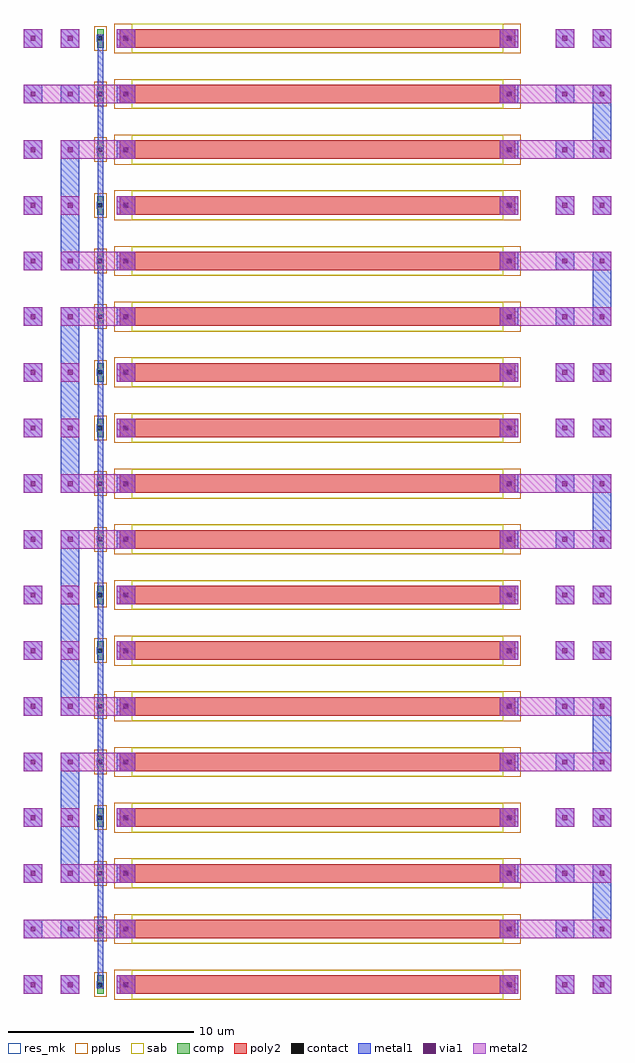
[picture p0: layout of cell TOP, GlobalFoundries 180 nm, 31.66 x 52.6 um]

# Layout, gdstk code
import gdstk
lib = gdstk.Library(unit=1e-6, precision=1e-09)
def R(c, l, rs):  # rectangles x0, y0, x1, y1
    for r in rs: c.add(gdstk.rectangle(r[:2], r[2:], *l))
comp = (22, 0)
poly2 = (30, 0)
pplus = (31, 0)
contact = (33, 0)
metal1 = (34, 0)
via1 = (35, 0)
metal2 = (36, 0)
sab = (49, 0)
res_mk = (110, 5)

compass_1b1d9957 = lib.new_cell('compass_1b1d9957')
R(compass_1b1d9957, res_mk, [(-10,-0.5,10,0.5)])

rectangle_1b1d9957 = lib.new_cell('rectangle_1b1d9957')
rectangle_1b1d9957.add(gdstk.Reference(compass_1b1d9957, (10,0.5)))

compass_03363513 = lib.new_cell('compass_03363513')
R(compass_03363513, sab, [(-10,-0.78,10,0.78)])

rectangle_03363513 = lib.new_cell('rectangle_03363513')
rectangle_03363513.add(gdstk.Reference(compass_03363513, (10,0.78)))

compass_0e4779a1 = lib.new_cell('compass_0e4779a1')
R(compass_0e4779a1, poly2, [(-10.66,-0.5,10.66,0.5)])

rectangle_0e4779a1 = lib.new_cell('rectangle_0e4779a1')
rectangle_0e4779a1.add(gdstk.Reference(compass_0e4779a1, (10.66,0.5)))

compass_f38dc993 = lib.new_cell('compass_f38dc993')
R(compass_f38dc993, contact, [(-0.11,-0.11,0.11,0.11)])

rectangle_f38dc993 = lib.new_cell('rectangle_f38dc993')
rectangle_f38dc993.add(gdstk.Reference(compass_f38dc993, (0.11,0.11)))

via_generator_d75c31cf = lib.new_cell('via_generator_d75c31cf')
r = gdstk.Reference(rectangle_f38dc993, (-0.44,0.39)); r.repetition = gdstk.Repetition(1, 1, v1=(0,0), v2=(0,0)); via_generator_d75c31cf.add(r)

compass_93e7eb8f = lib.new_cell('compass_93e7eb8f')
R(compass_93e7eb8f, metal1, [(-0.19,-0.191,0.19,0.191)])

rectangle_93e7eb8f = lib.new_cell('rectangle_93e7eb8f')
rectangle_93e7eb8f.add(gdstk.Reference(compass_93e7eb8f, (0.19,0.191)))

via_stack_aee9456e = lib.new_cell('via_stack_aee9456e')
via_stack_aee9456e.add(gdstk.Reference(via_generator_d75c31cf, (0,0)))
via_stack_aee9456e.add(gdstk.Reference(rectangle_93e7eb8f, (-0.52,0.309)))

compass_7786bbc9 = lib.new_cell('compass_7786bbc9')
R(compass_7786bbc9, pplus, [(-10.96,-0.8,10.96,0.8)])

rectangle_7786bbc9 = lib.new_cell('rectangle_7786bbc9')
rectangle_7786bbc9.add(gdstk.Reference(compass_7786bbc9, (10.96,0.8)))

compass_6150a5ad = lib.new_cell('compass_6150a5ad')
R(compass_6150a5ad, comp, [(-0.18,-0.5,0.18,0.5)])

rectangle_6150a5ad = lib.new_cell('rectangle_6150a5ad')
rectangle_6150a5ad.add(gdstk.Reference(compass_6150a5ad, (0.18,0.5)))

via_generator_8e1cf627 = lib.new_cell('via_generator_8e1cf627')
r = gdstk.Reference(rectangle_f38dc993, (-1.81,0.39)); r.repetition = gdstk.Repetition(1, 1, v1=(0,0), v2=(0,0)); via_generator_8e1cf627.add(r)

via_stack_603515ee = lib.new_cell('via_stack_603515ee')
via_stack_603515ee.add(gdstk.Reference(via_generator_8e1cf627, (0,0)))
via_stack_603515ee.add(gdstk.Reference(rectangle_93e7eb8f, (-1.89,0.309)))

compass_4b09060a = lib.new_cell('compass_4b09060a')
R(compass_4b09060a, pplus, [(-0.34,-0.66,0.34,0.66)])

rectangle_4b09060a = lib.new_cell('rectangle_4b09060a')
rectangle_4b09060a.add(gdstk.Reference(compass_4b09060a, (0.34,0.66)))

polyf_res_inst_d09b0e8d = lib.new_cell('polyf_res_inst_d09b0e8d')
polyf_res_inst_d09b0e8d.add(gdstk.Reference(rectangle_1b1d9957, (0,0)))
polyf_res_inst_d09b0e8d.add(gdstk.Reference(rectangle_03363513, (0,-0.28)))
polyf_res_inst_d09b0e8d.add(gdstk.Reference(rectangle_0e4779a1, (-0.66,0)))
r = gdstk.Reference(via_stack_aee9456e, (0,0)); r.repetition = gdstk.Repetition(2, 1, v1=(20.66,0), v2=(0,0)); polyf_res_inst_d09b0e8d.add(r)
polyf_res_inst_d09b0e8d.add(gdstk.Reference(rectangle_7786bbc9, (-0.96,-0.3)))
polyf_res_inst_d09b0e8d.add(gdstk.Reference(rectangle_6150a5ad, (-1.88,0)))
polyf_res_inst_d09b0e8d.add(gdstk.Reference(via_stack_603515ee, (0,0)))
polyf_res_inst_d09b0e8d.add(gdstk.Reference(rectangle_4b09060a, (-2.04,-0.16)))
polyf_res_inst_d09b0e8d.add(gdstk.Label('1', (-1.7,0.5), layer=34, texttype=10))

res_dev = lib.new_cell('res_dev')
res_dev.add(gdstk.Reference(polyf_res_inst_d09b0e8d, (0,0)))

compass_layer34__0_size1 = lib.new_cell('compass_layer34__0_size1__1')
R(compass_layer34__0_size1, metal1, [(-0.5,-0.5,0.5,0.5)])

rectangle_layer34__0_siz = lib.new_cell('rectangle_layer34__0_size1__1')
rectangle_layer34__0_siz.add(gdstk.Reference(compass_layer34__0_size1, (0.5,0.5)))

compass_layer36__0_size1 = lib.new_cell('compass_layer36__0_size1__1')
R(compass_layer36__0_size1, metal2, [(-0.5,-0.5,0.5,0.5)])

rectangle_layer36__0_siz = lib.new_cell('rectangle_layer36__0_size1__1')
rectangle_layer36__0_siz.add(gdstk.Reference(compass_layer36__0_size1, (0.5,0.5)))

compass_0e2264c9 = lib.new_cell('compass_0e2264c9')
R(compass_0e2264c9, via1, [(-0.13,-0.13,0.13,0.13)])

rectangle_0e2264c9 = lib.new_cell('rectangle_0e2264c9')
rectangle_0e2264c9.add(gdstk.Reference(compass_0e2264c9, (0.13,0.13)))

via_generator_00cc9934 = lib.new_cell('via_generator_00cc9934')
r = gdstk.Reference(rectangle_0e2264c9, (0.37,0.37)); r.repetition = gdstk.Repetition(1, 1, v1=(0,0), v2=(0,0)); via_generator_00cc9934.add(r)

via_stack_dev = lib.new_cell('via_stack_dev')
via_stack_dev.add(gdstk.Reference(rectangle_layer34__0_siz, (0,0)))
via_stack_dev.add(gdstk.Reference(rectangle_layer36__0_siz, (0,0)))
via_stack_dev.add(gdstk.Reference(via_generator_00cc9934, (0,0)))

top = lib.new_cell('TOP')
R(top, metal1, [(24.83,3.502,25.83,6.421), (-3.83,6.567,-2.83,12.648), (24.83,12.64,25.83,15.442), (-3.83,15.495,-2.83,24.487), (24.83,24.612,25.83,27.552), (-3.83,27.515,-2.83,36.496), (24.83,36.544,25.83,39.333), (-3.83,39.643,-2.83,45.419), (24.83,45.588,25.83,48.462)])
R(top, metal2, [(-5.207,3,-0.181,4), (20.178,3,25.53,4), (-3.435,6,-0.47,7), (20.467,6,25.349,7), (-3.255,12,-0.289,13), (20.286,12,25.421,13), (-3.399,15,-0.289,16), (20.431,15,25.204,16), (-3.11,24,-0.253,25), (20.286,24,25.385,25), (-3.339,27,-0.425,28), (20.395,27,25.313,28), (-3.453,36,-0.311,37), (20.348,36,25.3,37), (-3.368,39,-0.34,40), (20.376,39,25.329,40), (-3.396,45,-0.255,46), (20.376,45,25.357,46), (-5.32,48,-0.34,49), (20.32,48,25.442,49)])
top.add(gdstk.FlexPath([(-1.7,51.5),(-1.7,0.5)], 0.3, ends="flush", simple_path=True, layer=34, datatype=0))  # metal1
r = gdstk.Reference(res_dev, (0,0)); r.repetition = gdstk.Repetition(1, 18, v1=(0,0), v2=(0,3)); top.add(r)
r = gdstk.Reference(via_stack_dev, (-0.83,0)); r.repetition = gdstk.Repetition(2, 18, v1=(20.66,0), v2=(0,3)); top.add(r)
r = gdstk.Reference(via_stack_dev, (-3.83,0)); r.repetition = gdstk.Repetition(2, 18, v1=(26.66,0), v2=(0,3)); top.add(r)
r = gdstk.Reference(via_stack_dev, (-5.83,0)); r.repetition = gdstk.Repetition(2, 18, v1=(30.66,0), v2=(0,3)); top.add(r)

lib.write_gds('TOP.gds')
